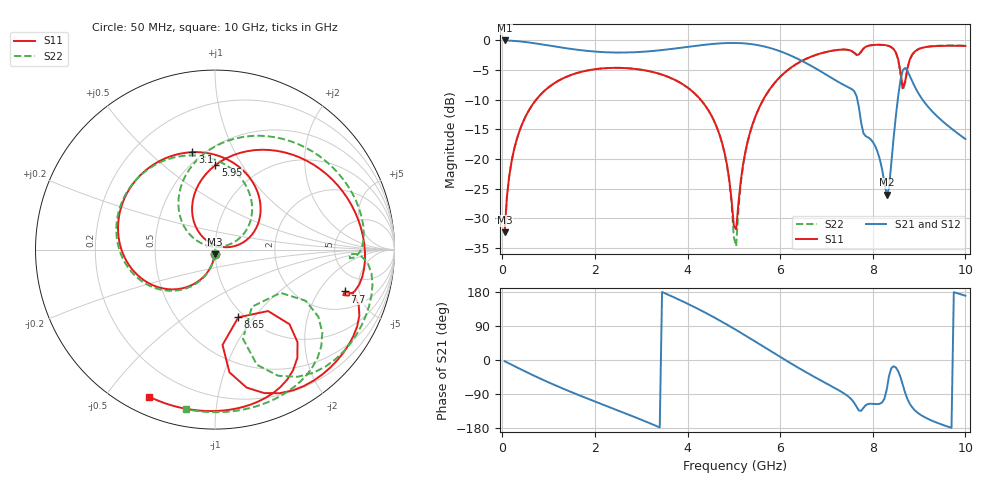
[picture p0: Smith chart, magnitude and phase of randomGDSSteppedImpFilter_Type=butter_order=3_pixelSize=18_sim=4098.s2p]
! freq	dB(S11)	phase(S11)	dB(S12)	phase(S12)
!  dB(S21)	phase(S21)	dB(S22)	phase(S22)
!S-par simulation data
#  GHz  S  DB  R 50
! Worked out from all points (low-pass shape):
!   200 points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, 50 MHz to 10 GHz, reference 50 ohm
!   highest |S21| = -0.01 dB at 50 MHz (marker M1); lowest = -26.0 dB at 8.3 GHz (marker M2)
!   |S21| within 3 dB of the highest: start of sweep to 6.354 GHz
!   lowest |S11| = -32.4 dB at 50 MHz (marker M3), VSWR 1.05, Z = 49.8 - j2.39 ohm
!   |S11| at or under -10 dB: start of sweep to 732.1 MHz; 4.283 GHz to 5.635 GHz (1.352 GHz wide, 27.3 % of centre)
!   |S22| runs from -34.7 to -0.7 dB; largest |S21 - S12| = 0
!   S11 on the Smith chart (normalised r, x): 50 MHz: 1.00, -0.05; 3.1 GHz: 0.44, +0.69; 5.95 GHz: 0.64, +0.77; 7.7 GHz: 3.22, -3.56; 8.65 GHz: 0.94, -0.84; 10 GHz: 0.08, -0.65
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0.05  -32.38 -93.3  -0.01 -3.2  -0.01 -3.2  -32.38 -93.2
0.2  -20.44 -103.1  -0.06 -12.4  -0.06 -12.4  -20.44 -102.6
0.5  -12.88 -121.9  -0.27 -30.6  -0.27 -30.6  -12.88 -120.5
1.75  -5.22 169.8  -1.70 -97.5  -1.70 -97.5  -5.22 174.2
3.1  -5.08 103.1  -1.88 -162.5  -1.88 -162.5  -5.08 111.5
3.4  -5.65 87.4  -1.67 -178.0  -1.67 -178.0  -5.65 96.8
4  -7.94 54.0  -1.09 148.6  -1.09 148.6  -7.95 65.2
4.6  -14.04 18.8  -0.56 110.7  -0.56 110.7  -14.05 30.9
4.85  -20.91 9.6  -0.44 93.5  -0.44 93.5  -21.01 19.7
5.05  -31.86 94.1  -0.43 79.2  -0.43 79.2  -34.71 116.7
5.15  -23.66 132.1  -0.46 71.9  -0.46 71.9  -24.11 154.3
5.3  -16.97 132.2  -0.55 60.8  -0.55 60.8  -17.11 151.5
5.95  -6.55 89.7  -1.69 11.9  -1.69 11.9  -6.58 107.8
6.7  -2.64 37.4  -4.42 -42.0  -4.42 -42.0  -2.66 55.1
7.3  -1.56 -1.0  -7.20 -82.3  -7.20 -82.3  -1.57 15.7
7.7  -2.38 -17.9  -11.28 -133.3  -11.28 -133.3  -2.47 -1.9
8.3  -0.84 -56.8  -26.03 -78.7  -26.03 -78.7  -0.84 -42.2
8.35  -0.95 -61.0  -24.99 -42.6  -24.99 -42.6  -0.95 -46.6
8.5  -2.06 -77.1  -12.66 -19.8  -12.66 -19.8  -2.09 -63.4
8.65  -7.98 -71.0  -4.99 -66.4  -4.99 -66.4  -8.42 -57.1
8.9  -1.94 -57.0  -7.69 -131.7  -7.69 -131.7  -1.94 -42.3
10  -0.93 -114.1  -16.64 169.7  -16.64 169.7  -0.88 -100.2
